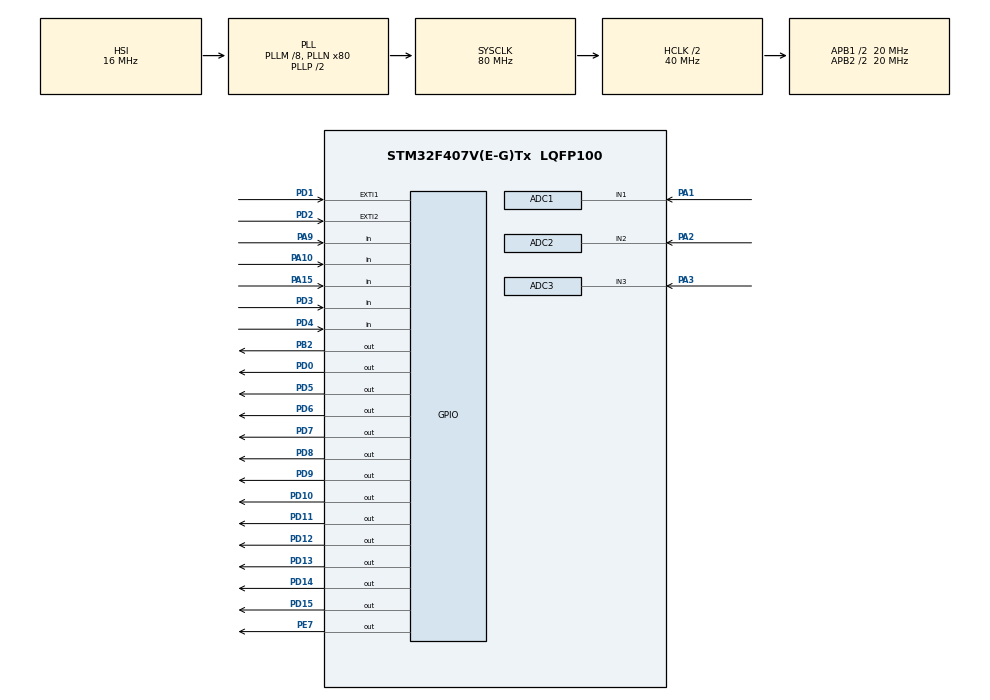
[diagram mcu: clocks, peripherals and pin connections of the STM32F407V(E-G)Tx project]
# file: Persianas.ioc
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ADC1.Channel-0\#ChannelRegularConversion=ADC_CHANNEL_1
ADC1.NbrOfConversionFlag=1
ADC1.Rank-0\#ChannelRegularConversion=1
ADC1.Resolution=ADC_RESOLUTION_10B
ADC1.SamplingTime-0\#ChannelRegularConversion=ADC_SAMPLETIME_3CYCLES
ADC1.master=1
ADC2.Channel-1\#ChannelRegularConversion=ADC_CHANNEL_2
ADC2.NbrOfConversionFlag=1
ADC2.Rank-1\#ChannelRegularConversion=1
ADC2.Resolution=ADC_RESOLUTION_10B
ADC2.SamplingTime-1\#ChannelRegularConversion=ADC_SAMPLETIME_3CYCLES
ADC3.Channel-0\#ChannelRegularConversion=ADC_CHANNEL_3
ADC3.NbrOfConversionFlag=1
ADC3.Rank-0\#ChannelRegularConversion=1
ADC3.Resolution=ADC_RESOLUTION_10B
ADC3.SamplingTime-0\#ChannelRegularConversion=ADC_SAMPLETIME_3CYCLES
Mcu.Family=STM32F4
Mcu.Name=STM32F407V(E-G)Tx
Mcu.Package=LQFP100
NVIC.EXTI1_IRQn=true\:0\:0\:false\:false\:true\:true\:true
NVIC.EXTI2_IRQn=true\:0\:0\:false\:false\:true\:true\:true
NVIC.PriorityGroup=NVIC_PRIORITYGROUP_4
NVIC.TIM1_BRK_TIM9_IRQn=true\:0\:0\:false\:false\:true\:true\:true
NVIC.TIM8_BRK_TIM12_IRQn=true\:0\:0\:false\:false\:true\:true\:true
PA1.Signal=ADCx_IN1
PA10.Signal=GPIO_Input
PA13.Mode=Serial_Wire
PA13.Signal=SYS_JTMS-SWDIO
PA14.Mode=Serial_Wire
PA14.Signal=SYS_JTCK-SWCLK
PA15.Signal=GPIO_Input
PA2.Signal=ADCx_IN2
PA3.Signal=ADCx_IN3
PA9.Signal=GPIO_Input
PB2.Signal=GPIO_Output
PC14-OSC32_IN.Mode=LSE-External-Oscillator
PC14-OSC32_IN.Signal=RCC_OSC32_IN
PC15-OSC32_OUT.Mode=LSE-External-Oscillator
PC15-OSC32_OUT.Signal=RCC_OSC32_OUT
PD0.Signal=GPIO_Output
PD1.GPIO_ModeDefaultEXTI=GPIO_MODE_IT_FALLING
PD1.GPIO_PuPd=GPIO_PULLUP
PD1.Signal=GPXTI1
PD10.Signal=GPIO_Output
PD11.Signal=GPIO_Output
PD12.Signal=GPIO_Output
PD13.Signal=GPIO_Output
PD14.Signal=GPIO_Output
PD15.Signal=GPIO_Output
PD2.Signal=GPXTI2
PD3.Signal=GPIO_Input
PD4.Signal=GPIO_Input
PD5.Signal=GPIO_Output
PD6.Signal=GPIO_Output
PD7.Signal=GPIO_Output
PD8.Signal=GPIO_Output
PD9.Signal=GPIO_Output
PE7.Signal=GPIO_Output
PH0-OSC_IN.Mode=HSE-External-Oscillator
PH0-OSC_IN.Signal=RCC_OSC_IN
PH1-OSC_OUT.Mode=HSE-External-Oscillator
PH1-OSC_OUT.Signal=RCC_OSC_OUT
ProjectManager.HeapSize=0x200
ProjectManager.StackSize=0x400
ProjectManager.TargetToolchain=STM32CubeIDE
RCC.48MHZClocksFreq_Value=22857142.85714286
RCC.AHBCLKDivider=RCC_SYSCLK_DIV2
RCC.AHBFreq_Value=40000000
RCC.APB1CLKDivider=RCC_HCLK_DIV2
RCC.APB1Freq_Value=20000000
RCC.APB1TimFreq_Value=40000000
RCC.APB2CLKDivider=RCC_HCLK_DIV2
RCC.APB2Freq_Value=20000000
RCC.APB2TimFreq_Value=40000000
RCC.CortexFreq_Value=40000000
RCC.HCLKFreq_Value=40000000
RCC.HSE_VALUE=8000000
RCC.HSI_VALUE=16000000
RCC.PLLM=8
RCC.PLLN=80
RCC.PLLQ=7
RCC.SYSCLKFreq_VALUE=80000000
RCC.SYSCLKSource=RCC_SYSCLKSOURCE_PLLCLK
RCC.VCOOutputFreq_Value=160000000
SH.ADCx_IN1.0=ADC1_IN1,IN1
SH.ADCx_IN2.0=ADC2_IN2,IN2
SH.ADCx_IN3.0=ADC3_IN3,IN3
TIM12.Period=100-1
TIM12.Prescaler=40000-1
TIM3.Period=0xffff-1
TIM3.Prescaler=40-1
TIM9.Period=8000-1
TIM9.Prescaler=40000-1
VP_TIM12_VS_ClockSourceINT.Mode=Internal
VP_TIM3_VS_ClockSourceINT.Mode=Internal
VP_TIM9_VS_ClockSourceINT.Mode=Internal
board=STM32F407G-DISC1

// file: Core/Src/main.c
/* USER CODE BEGIN Header */
/**
  ******************************************************************************
  * @file           : main.c
  * @brief          : Main program body
  ******************************************************************************
  * @attention
  *
  * Copyright (c) 2022 STMicroelectronics.
  * All rights reserved.
  *
  * This software is licensed under terms that can be found in the LICENSE file
  * in the root directory of this software component.
  * If no LICENSE file comes with this software, it is provided AS-IS.
  *
  ******************************************************************************
  */
/* USER CODE END Header */
#include "main.h"

ADC_HandleTypeDef hadc1;
ADC_HandleTypeDef hadc2;
ADC_HandleTypeDef hadc3;

TIM_HandleTypeDef htim3;
TIM_HandleTypeDef htim9;
TIM_HandleTypeDef htim12;

void SystemClock_Config(void);
static void MX_GPIO_Init(void);
static void MX_ADC1_Init(void);
static void MX_ADC2_Init(void);
static void MX_ADC3_Init(void);
static void MX_TIM3_Init(void);
static void MX_TIM12_Init(void);
static void MX_TIM9_Init(void);

/* USER CODE BEGIN 0 */

//////////////DEFINES///////////////////////////////////////////////////////////////////////

//////////////Para mostrar el estado////////////
#define ESTADO0_PORT GPIOD
#define ESTADO0_PIN GPIO_PIN_12

#define ESTADO1_PORT GPIOD
#define ESTADO1_PIN GPIO_PIN_13

#define ESTADO2_PORT GPIOD
#define ESTADO2_PIN GPIO_PIN_14
///////////////////////////////////////////////

/////////////// Para el motor //////////////////

#define pasosporrev 4096

#define M1_PORT GPIOD
#define M1_PIN GPIO_PIN_8

#define M2_PORT GPIOD
#define M2_PIN GPIO_PIN_9

#define M3_PORT GPIOD
#define M3_PIN GPIO_PIN_10

#define M4_PORT GPIOD
#define M4_PIN GPIO_PIN_11
///////////////////////////////////////////////

//////////////////Para el hall////////////////
#define VAL_LIM_HALL 450
// para mayor sensibilidad aumentar valor; para menor, disminuir
//////////////////////////////////////////////

////////////////// Para ultrasonidos //////////
#define DIST_MIN 3
#define DIST_MAX_1 12
#define DIST_MAX_2 24

#define US_TRIGGER_PORT GPIOD
#define US_TRIGGER_PIN GPIO_PIN_15

#define US_ECHO_PORT GPIOD
#define US_ECHO_PIN GPIO_PIN_4
//////////////////////////////////////////////

////////Para LDR//////////////////////////////
#define UMBRAL_MODO_1 1000
#define UMBRAL_MODO_2 800
/////////////////////////////////////////////

//////////////// Para movimiento /////////////
#define MOTION_PORT GPIOD
#define MOTION_PIN GPIO_PIN_3

#define MOTION_LED_PORT GPIOD
#define MOTION_LED_PIN GPIO_PIN_0
/////////////////////////////////////////////

//////////////////Para el PAD///////////////
#define PAD_S1_PORT GPIOD
#define PAD_S1_PIN GPIO_PIN_5

#define PAD_S2_PORT GPIOD
#define PAD_S2_PIN GPIO_PIN_6

#define PAD_S3_PORT GPIOD
#define PAD_S3_PIN GPIO_PIN_7

#define PAD_E1_PORT GPIOA
#define PAD_E1_PIN GPIO_PIN_9

#define PAD_E2_PORT GPIOA
#define PAD_E2_PIN GPIO_PIN_10

#define PAD_E3_PORT GPIOA
#define PAD_E3_PIN GPIO_PIN_15
////////////////////////////////////////////

//////////Para la CONTRASEÑA///////////////
#define P1 '1'
#define P2 '5'
#define P3 '2'
#define P4 '1'

#define PAD_LED_V_PORT GPIOE
#define PAD_LED_V_PIN GPIO_PIN_7

#define PAD_LED_R_PORT GPIOB
#define PAD_LED_R_PIN GPIO_PIN_2
//////////////////////////////////////////

///////////////////////////////////////////////////////////////////////////////////////////////

////////////////////////////VARIABLES//////////////////////////////////////////////////////////

//banderas para los botones y temporizaciones
volatile int button_1 = 0;
volatile int button_2 = 0;
volatile int tiempo1 = 0;
volatile int tiempo2 = 0;

//vector para guardar las lecturas del ADC
uint32_t ADC_val[3];

//variable para guardar la distancia medida, en cm
uint32_t distancia = 0;

//variables para la contraseña
char aux;
char key [4] = {0,0,0,0};

//variables para los estados
uint8_t estado = 0;
uint8_t preestado = 0;

//////////////////////////////////////////////////////////////////////////////////////////////

//////////////INTERRUPCIONES/////////////////////////////////////////////////////////////////
// Dos botones
void HAL_GPIO_EXTI_Callback(uint16_t GPIO_Pin)
{
	if (GPIO_Pin == GPIO_PIN_1) {
		button_1 = 1;
	}

	if(GPIO_Pin ==  GPIO_PIN_2) {
		button_2 = 1;
	}
}

void HAL_TIM_PeriodElapsedCallback(TIM_HandleTypeDef *htim) {

	if (htim == &htim9)
	{
		tiempo2 = 1;
	}

	if (htim == &htim12)
	{
		tiempo1 = 1;
	}
}
/////////////////////////////////////////////////////////////////////////////////////////////

/////////////ANTIRREBOTES///////////////////////////////////////////////////////////////////
// SEgún se realizó en el laboratorio
int debouncer(volatile int* button_int, GPIO_TypeDef* GPIO_port, uint16_t GPIO_number){
	static uint8_t button_count=0;
	static int counter=0;

	if (*button_int==1){
		if (button_count==0) {
			counter=HAL_GetTick();
			button_count++;
		}
		if (HAL_GetTick()-counter>=20){
			counter=HAL_GetTick();
			if (HAL_GPIO_ReadPin(GPIO_port, GPIO_number)!=1){
				button_count=1;
			}
			else{
				button_count++;
			}
			if (button_count==4){ //Periodo antirebotes
				button_count=0;
				*button_int=0;
				return 1;
			}
		}
	}
	return 0;
}
/////////////////////////////////////////////////////////////////////////////////////////////

////////JOYSTICK////////////////////////////////////////////////////////////////////////////
// Una funcion para saber si esta hacia arriba y otra hacia abajo, segun el valor leido en
// el ADC.
int joystick_arriba () {
	HAL_ADC_Start(&hadc1);
	if(HAL_ADC_PollForConversion(&hadc1, 100) ==  HAL_OK) {
		ADC_val[0] = HAL_ADC_GetValue(&hadc1);
	}
	HAL_ADC_Stop(&hadc1);
	if(ADC_val[0] < 350) {return 1;}
	else {return 0;}
}

int joystick_abajo () {
	HAL_ADC_Start(&hadc1);
	if(HAL_ADC_PollForConversion(&hadc1, 100) ==  HAL_OK) {
		ADC_val[0] = HAL_ADC_GetValue(&hadc1);
	}
	HAL_ADC_Stop(&hadc1);
	if(ADC_val[0] > 675) {return 1;}
	else {return 0;}
}
////////////////////////////////////////////////////////////////////////////////////////////

////////DELAY EN MICROSEGUNDOS/////////////////////////////////////////////////////////////
void delay_us (uint16_t us) {
	__HAL_TIM_SET_COUNTER(&htim3, 0);
	while(__HAL_TIM_GET_COUNTER(&htim3)<us);
}
//////////////////////////////////////////////////////////////////////////////////////////

////////MOTOR PASO A PASO/////////////////////////////////////////////////////////////////
//Funcion para determinar las rpm a las que gira el motor. Funciona bien entre 1 y 13.
//Nosotros lo usaremos a 10 rpm en todos los casos.
void step_motor_set_rpm(int rpm)
{
	delay_us(60000000/pasosporrev/rpm);
}

//Determina la secuencia de los pines a nivel alto/bajo para poder mover el motor.
//Se van activando en orden. El primero se pone a nivel alto, se le añade el segundo,
//se elimina el primero, se añade el tercero, se elimina el segundo, etc.
void step_motor_half (int step) {
	switch(step) {
	case 0:
		HAL_GPIO_WritePin(M1_PORT, M1_PIN, GPIO_PIN_SET);
		HAL_GPIO_WritePin(M2_PORT, M2_PIN, GPIO_PIN_RESET);
		HAL_GPIO_WritePin(M3_PORT, M3_PIN, GPIO_PIN_RESET);
		HAL_GPIO_WritePin(M4_PORT, M4_PIN, GPIO_PIN_RESET);
		break;
	case 1:
		HAL_GPIO_WritePin(M1_PORT, M1_PIN, GPIO_PIN_SET);
		HAL_GPIO_WritePin(M2_PORT, M2_PIN, GPIO_PIN_SET);
		HAL_GPIO_WritePin(M3_PORT, M3_PIN, GPIO_PIN_RESET);
		HAL_GPIO_WritePin(M4_PORT, M4_PIN, GPIO_PIN_RESET);
		break;
	case 2:
		HAL_GPIO_WritePin(M1_PORT, M1_PIN, GPIO_PIN_RESET);
		HAL_GPIO_WritePin(M2_PORT, M2_PIN, GPIO_PIN_SET);
		HAL_GPIO_WritePin(M3_PORT, M3_PIN, GPIO_PIN_RESET);
		HAL_GPIO_WritePin(M4_PORT, M4_PIN, GPIO_PIN_RESET);
		break;
	case 3:
		HAL_GPIO_WritePin(M1_PORT, M1_PIN, GPIO_PIN_RESET);
		HAL_GPIO_WritePin(M2_PORT, M2_PIN, GPIO_PIN_SET);
		HAL_GPIO_WritePin(M3_PORT, M3_PIN, GPIO_PIN_SET);
		HAL_GPIO_WritePin(M4_PORT, M4_PIN, GPIO_PIN_RESET);
		break;
	case 4:
		HAL_GPIO_WritePin(M1_PORT, M1_PIN, GPIO_PIN_RESET);
		HAL_GPIO_WritePin(M2_PORT, M2_PIN, GPIO_PIN_RESET);
		HAL_GPIO_WritePin(M3_PORT, M3_PIN, GPIO_PIN_SET);
		HAL_GPIO_WritePin(M4_PORT, M4_PIN, GPIO_PIN_RESET);
		break;
	case 5:
		HAL_GPIO_WritePin(M1_PORT, M1_PIN, GPIO_PIN_RESET);
		HAL_GPIO_WritePin(M2_PORT, M2_PIN, GPIO_PIN_RESET);
		HAL_GPIO_WritePin(M3_PORT, M3_PIN, GPIO_PIN_SET);
		HAL_GPIO_WritePin(M4_PORT, M4_PIN, GPIO_PIN_SET);
		break;
	case 6:
		HAL_GPIO_WritePin(M1_PORT, M1_PIN, GPIO_PIN_RESET);
		HAL_GPIO_WritePin(M2_PORT, M2_PIN, GPIO_PIN_RESET);
		HAL_GPIO_WritePin(M3_PORT, M3_PIN, GPIO_PIN_RESET);
		HAL_GPIO_WritePin(M4_PORT, M4_PIN, GPIO_PIN_SET);
		break;
	case 7:
		HAL_GPIO_WritePin(M1_PORT, M1_PIN, GPIO_PIN_SET);
		HAL_GPIO_WritePin(M2_PORT, M2_PIN, GPIO_PIN_RESET);
		HAL_GPIO_WritePin(M3_PORT, M3_PIN, GPIO_PIN_RESET);
		HAL_GPIO_WritePin(M4_PORT, M4_PIN, GPIO_PIN_SET);
		break;
	}
}

// Finalmente, la funcion que realmente usamos en el main, ya que incluye las dos
// anteriores. Esta funcion hace que el motor gire un angulo introducido, en un
// sentido u otro, y a unas rpm determinadas (entre 1 y 13 rpm funciona).
void step_motor_angle (float angle, int direction, int rpm) {
	float angperseq = 0.703125;
	int numberofseq = (int) (angle/angperseq);

	for (int seq=0; seq < numberofseq; seq++) {
		if (direction == 0) { // sentido horario
			for (int step = 7; step>=0; step--) {
				step_motor_half(step);
				step_motor_set_rpm(rpm);
			}
		}
		else if (direction == 1) { // sentido antihorario
			for (int step = 0; step<8; step++) {
				step_motor_half(step);
				step_motor_set_rpm(rpm);
			}
		}
	}
}
////////////////////////////////////////////////////////////////////////////////////////////////

///////SENSOR DE EFECTO HALL///////////////////////////////////////////////////////////////////
//Se lee como ADC para poder ajustar la sensibilidad a la deseada, segun
//la disposicion fisica final de la maqueta. Es el sensor de fin de carrera
//superior
int hall () {
	HAL_ADC_Start(&hadc2);
	if(HAL_ADC_PollForConversion(&hadc2, 100) ==  HAL_OK) {
		ADC_val[1] = HAL_ADC_GetValue(&hadc2);
	}
	HAL_ADC_Stop(&hadc2);
	if(ADC_val[1] < VAL_LIM_HALL) {return 1;}
	else {return 0;}
}
////////////////////////////////////////////////////////////////////////////////////////////////

////////SENSOR DE ULTRASONIDOS/////////////////////////////////////////////////////////////////
//Lee la distancia que hay de un lado a otro en la parte de abajo, donde
//deberia bajar la persiana. Es utilizado como sensor de fin de carrera
//inferior y tambien como elemento de seguridad, pues si se detecta la
//presencia de un obstaculo, no se baja la persiana.
//
//Se envia una señal a nivel alto de 10 microsegundos. Se espera un tiempo
//durante el cual el sensor emite ultrasonidos y finalmente se lee durante
//cuantos microsegundos la señal que devuelve el sensor se mantiene a
//nivel alto.
uint32_t ultrasonicRead (void) {
	int cuenta = 0;
	HAL_GPIO_WritePin(US_TRIGGER_PORT, US_TRIGGER_PIN, 1);
	delay_us(10);
	HAL_GPIO_WritePin(US_TRIGGER_PORT, US_TRIGGER_PIN, 0);
	while(!(HAL_GPIO_ReadPin(US_ECHO_PORT, US_ECHO_PIN)));
	while(HAL_GPIO_ReadPin(US_ECHO_PORT, US_ECHO_PIN)) {
		cuenta = cuenta + 1;
		delay_us(1);
	}
	return cuenta * 0.051;
}
///////////////////////////////////////////////////////////////////////////////////////////////

///////LDR////////////////////////////////////////////////////////////////////////////////////
uint32_t ldr () {
	HAL_ADC_Start(&hadc3);
	if(HAL_ADC_PollForConversion(&hadc3, 100) ==  HAL_OK) {
		ADC_val[2] = HAL_ADC_GetValue(&hadc3);
	}
	HAL_ADC_Stop(&hadc3);
	return ADC_val[2];
}
//////////////////////////////////////////////////////////////////////////////////////////////

////SENSOR DE MOVIMIENTO/////////////////////////////////////////////////////////////////////
//Cuando el sensor detecta movimiento, su salida se pone a nivel alto durante un tiempo
//determinado por la posicion de un potenciometro. Otro potenciometro determina la
//sensibilidad.
//En esta funcion simplemente se traduce el estado de esa salida del sensor a un LED
void motion () {
	 if(HAL_GPIO_ReadPin(MOTION_PORT, MOTION_PIN)) {  HAL_GPIO_WritePin(MOTION_LED_PORT, MOTION_LED_PIN, 1); }
	 else {  HAL_GPIO_WritePin(MOTION_LED_PORT, MOTION_LED_PIN, 0); }
}
//////////////////////////////////////////////////////////////////////////////////////////////

/////PANEL DE CONTRASEÑA/////////////////////////////////////////////////////////////////////
//Su funcionamiento es el siguiente: el panel es una matriz. Las columnas se van poniendo
//a nivel alto una a la vez y, en cada caso, se lee si alguna de las filas se pone a
//nivel alto. En caso afirmativo, se ha producido el contacto entre la columna y la fila
//correspondiente.
char keypad (void)
{
	//LED rojo se enciende mientras estemos permitiendo la introduccion de contraseña
	HAL_GPIO_WritePin(PAD_LED_R_PORT, PAD_LED_R_PIN, 1);
	// Ponemos solo la primera columna a nivel alto
	HAL_GPIO_WritePin (PAD_S1_PORT, PAD_S1_PIN, GPIO_PIN_SET);
	HAL_GPIO_WritePin (PAD_S2_PORT, PAD_S2_PIN, GPIO_PIN_RESET);
	HAL_GPIO_WritePin (PAD_S3_PORT, PAD_S3_PIN, GPIO_PIN_RESET);

	if ((HAL_GPIO_ReadPin (PAD_E1_PORT, PAD_E1_PIN)))
	{
		while ((HAL_GPIO_ReadPin (PAD_E1_PORT, PAD_E1_PIN)));
		return '1';
	}

	if ((HAL_GPIO_ReadPin (PAD_E2_PORT, PAD_E2_PIN)))
	{
		while ((HAL_GPIO_ReadPin (PAD_E2_PORT, PAD_E2_PIN)));
		return '2';
	}

	if ((HAL_GPIO_ReadPin (PAD_E3_PORT, PAD_E3_PIN)))
	{
		while ((HAL_GPIO_ReadPin (PAD_E3_PORT, PAD_E3_PIN)));
		return '3';
	}

	// Ahora la segunda
	HAL_GPIO_WritePin (PAD_S1_PORT, PAD_S1_PIN, GPIO_PIN_RESET);
	HAL_GPIO_WritePin (PAD_S2_PORT, PAD_S2_PIN, GPIO_PIN_SET);
	HAL_GPIO_WritePin (PAD_S3_PORT, PAD_S3_PIN, GPIO_PIN_RESET);

	if ((HAL_GPIO_ReadPin (PAD_E1_PORT, PAD_E1_PIN)))
		{
			while ((HAL_GPIO_ReadPin (PAD_E1_PORT, PAD_E1_PIN)));
			return '4';
		}

		if ((HAL_GPIO_ReadPin (PAD_E2_PORT, PAD_E2_PIN)))
		{
			while ((HAL_GPIO_ReadPin (PAD_E2_PORT, PAD_E2_PIN)));
			return '5';
		}

		if ((HAL_GPIO_ReadPin (PAD_E3_PORT, PAD_E3_PIN)))
		{
			while ((HAL_GPIO_ReadPin (PAD_E3_PORT, PAD_E3_PIN)));
			return '6';
		}

	// La tercera
	HAL_GPIO_WritePin (PAD_S1_PORT, PAD_S1_PIN, GPIO_PIN_RESET);
	HAL_GPIO_WritePin (PAD_S2_PORT, PAD_S2_PIN, GPIO_PIN_RESET);
	HAL_GPIO_WritePin (PAD_S3_PORT, PAD_S3_PIN, GPIO_PIN_SET);

	if ((HAL_GPIO_ReadPin (PAD_E1_PORT, PAD_E1_PIN)))
			{
				while ((HAL_GPIO_ReadPin (PAD_E1_PORT, PAD_E1_PIN)));
				return '7';
			}

			if ((HAL_GPIO_ReadPin (PAD_E2_PORT, PAD_E2_PIN)))
			{
				while ((HAL_GPIO_ReadPin (PAD_E2_PORT, PAD_E2_PIN)));
				return '8';
			}

			if ((HAL_GPIO_ReadPin (PAD_E3_PORT, PAD_E3_PIN)))
			{
				while ((HAL_GPIO_ReadPin (PAD_E3_PORT, PAD_E3_PIN)));
				return '9';
			}
	return 'x';
}

//Esta funcion comprueba si se introduce la contraseña correcta
//sin sobrepasar el tiempo limite. El motivo de este diseño
//es que a veces se detectan numeros aleatorios por contactos
//indeseados, suponemos que por la baja calidad del panel.
void password () {
	if (aux == P1) { key[0] = aux; }
	if (aux == P2 && key[0] == P1) { key[1] = aux; }
	if (aux == P3 && key[1] == P2) { key[2] = aux; }
	if (aux == P4 && key[2] == P3) {
		key[3] = aux;
		HAL_GPIO_WritePin(PAD_LED_V_PORT, PAD_LED_V_PIN, 1);
		tiempo2 = 0;
		__HAL_TIM_SET_COUNTER(&htim9, 0);

	}
	if(tiempo2) {
		estado = preestado;
		HAL_GPIO_WritePin(PAD_LED_R_PORT, PAD_LED_R_PIN, 0);
		HAL_GPIO_WritePin(PAD_LED_V_PORT, PAD_LED_V_PIN, 0);
		key[0] = 0; key[1] = 0; key[2] = 0; key[3] = 0;
	}
}
//////////////////////////////////////////////////////////////////////////////////////////

/* USER CODE END 0 */

int main(void)
{

  /* MCU Configuration--------------------------------------------------------*/

  /* Reset of all peripherals, Initializes the Flash interface and the Systick. */
  HAL_Init();

  /* Configure the system clock */
  SystemClock_Config();

  /* Initialize all configured peripherals */
  MX_GPIO_Init();
  MX_ADC1_Init();
  MX_ADC2_Init();
  MX_ADC3_Init();
  MX_TIM3_Init();
  MX_TIM12_Init();
  MX_TIM9_Init();
  /* USER CODE BEGIN 2 */
HAL_TIM_Base_Start(&htim3);
HAL_TIM_Base_Start_IT(&htim9);
HAL_TIM_Base_Start_IT(&htim12);
  /* USER CODE END 2 */

  /* Infinite loop */
  while (1)
  {

    /* USER CODE BEGIN 3 */
	  if(debouncer(&button_1, GPIOD, GPIO_PIN_1) == 1) {
		  if(estado == 3) {
			  // Nada
		  }
		  else {
			  estado ++;
			  if (estado >= 3) {estado = 0;}
			  	  button_1 = 0;
		  	  }
	  }

	  if(debouncer(&button_2, GPIOD, GPIO_PIN_2) == 1) {
		  	  preestado = estado;
		  	  estado = 3;
		  	 tiempo2 = 0;
		  	__HAL_TIM_SET_COUNTER(&htim9, 0);
	  		  button_2 = 0;
	  	  }

	  motion(); //sensor de movimiento + led correspondiente gestionado aqui

	  //switch case para los estados
	  switch(estado) {
	  	  case 0: // modo manual
	  		  //mostramos el estado en el que estamos en primer lugar
	  		  HAL_GPIO_WritePin(ESTADO0_PORT, ESTADO0_PIN, 1);
	  		  HAL_GPIO_WritePin(ESTADO1_PORT, ESTADO1_PIN, 0);
	  		  HAL_GPIO_WritePin(ESTADO2_PORT, ESTADO2_PIN, 0);
		  	  //leemos la distancia:
	  		  if(tiempo1 == 0) {  //no leemos distancia: el por qué
			  	  	  		//está en las características del
			  	  	  	  	//sensor
			  }
	  		  else {
	  			  distancia = ultrasonicRead(); // ahora si, leemos distancia
	  			  tiempo1 = 0;
	  		  }
		  	  //permitimos el movimiento del motor segun la situacion:
	  		  if(distancia > DIST_MIN && distancia < DIST_MAX_1) {
			  //obstaculo o persiana abajo. Solamente permitimos la subida.
	  			  if(joystick_arriba()) { step_motor_angle(1,1,5); }
	  		  }
	  		  else if (distancia >= DIST_MAX_1 && distancia <= DIST_MAX_2) {
			  // funcionamiento normal, permitimos subida (solo si el hall lo permite) y bajada.
	  			  if (hall()) {if(joystick_abajo()) { step_motor_angle(1,0,5); }}
	  			  else {
			 			  if(joystick_arriba()) { step_motor_angle(1,1,5); }
			 			  if(joystick_abajo()) { step_motor_angle(1,0,5); }
	  			  }
	  		  }
	  		  break;

	  	  case 1: // modo automatico 1: "invierno / intimidad"
	  		  // mostramos el estado en el que estamos
	  		  HAL_GPIO_WritePin(ESTADO0_PORT, ESTADO0_PIN, 0);
	  		  HAL_GPIO_WritePin(ESTADO1_PORT, ESTADO1_PIN, 1);
	  		  HAL_GPIO_WritePin(ESTADO2_PORT, ESTADO2_PIN, 0);

	  		  if(tiempo1 == 0) { //no leemos distancia: el por qué
  	  	  	  	  	  	  //está en las características del
  	  	  	  	  	  	  //sensor
	  		  }
	  		  else {
	  			  distancia = ultrasonicRead(); // ahora si, leemos distancia
	  			  tiempo1 = 0;
	  		  }
	 	  	  //Según el valor del LDR actuamos de una u otra forma.
	  		  if (ldr()>UMBRAL_MODO_1 && distancia > DIST_MIN) {
	  			  if(distancia > DIST_MIN && distancia < DIST_MAX_1) {
	 			 //obstaculo o persiana abajo
	  			  }
	  			  else {
	  				  step_motor_angle(1,0,5); //bajando
	  			  }
	  		  }
	  		  else if (ldr()<UMBRAL_MODO_1 && hall()==0) {
	  			  step_motor_angle(1,1,5); //subiendo mientras hall lo permita
	  		  }
	  		  break;

	  	  case 2:  // modo automatico 2: "verano / inverso"
	  		  // mostramos el estado en el que estamos
	  		  HAL_GPIO_WritePin(ESTADO0_PORT, ESTADO0_PIN, 0);
	  		  HAL_GPIO_WritePin(ESTADO1_PORT, ESTADO1_PIN, 0);
	  		  HAL_GPIO_WritePin(ESTADO2_PORT, ESTADO2_PIN, 1);
	      	  //leemos la distancia
	  		  if(tiempo1 == 0) { //no leemos distancia: el por qué
 	  	  	  	  	  	  //está en las características del
	 		 	 	 	  //sensor
	  		  }
	  		  else {
	  			  distancia = ultrasonicRead(); // ahora si, leemos distancia
	  			  tiempo1 = 0;
	  		  }
	 	 	 //segun el valor del ldr, actuamos de una u otra forma.
	  		  if (ldr()<UMBRAL_MODO_2 && distancia > DIST_MIN) {
	  			  if(distancia > DIST_MIN && distancia < DIST_MAX_1) {
	 			 //obstaculo o persiana abajo
	  			  }
	  			  else {
	  				  step_motor_angle(1,0,5); // bajando
	  			  }
	  		  }
	  		  else if (ldr()>UMBRAL_MODO_2 && hall()==0) {
	  			  step_motor_angle(1,1,5); // subiendo mientras el hall lo permita
	  		  }
	  		  break;

	  	  case 3: // caja fuerte, contraseña
	  		  //apagamos los estados 0, 1 , 2
	  		  //el estado actual se muestra con otro led,
	  		  //gestionado en las funciones keypad() y password()
	  		  HAL_GPIO_WritePin(ESTADO0_PORT, ESTADO0_PIN, 0);
	  		  HAL_GPIO_WritePin(ESTADO1_PORT, ESTADO1_PIN, 0);
	  		  HAL_GPIO_WritePin(ESTADO2_PORT, ESTADO2_PIN, 0);
	  		  aux = keypad(); //Se lee si se pulsa algun boton
	  		  password(); // Se comprueba si se van introduciendo
		  	  	  	  // los numeros correctos. Se enciende un LED
		  	  	  	  // verde en caso de éxito.
	  		  break;

	  	  default:
	  		  HAL_GPIO_WritePin(ESTADO0_PORT, ESTADO0_PIN, 0);
	  		  HAL_GPIO_WritePin(ESTADO1_PORT, ESTADO1_PIN, 0);
	  		  HAL_GPIO_WritePin(ESTADO2_PORT, ESTADO2_PIN, 0);
	      break;
	  }
  }
  /* USER CODE END 3 */
}

void SystemClock_Config(void)
{
  RCC_OscInitTypeDef RCC_OscInitStruct = {0};
  RCC_ClkInitTypeDef RCC_ClkInitStruct = {0};

  /** Configure the main internal regulator output voltage
  */
  __HAL_RCC_PWR_CLK_ENABLE();
  __HAL_PWR_VOLTAGESCALING_CONFIG(PWR_REGULATOR_VOLTAGE_SCALE1);
  /** Initializes the RCC Oscillators according to the specified parameters
  * in the RCC_OscInitTypeDef structure.
  */
  RCC_OscInitStruct.OscillatorType = RCC_OSCILLATORTYPE_HSI;
  RCC_OscInitStruct.HSIState = RCC_HSI_ON;
  RCC_OscInitStruct.HSICalibrationValue = RCC_HSICALIBRATION_DEFAULT;
  RCC_OscInitStruct.PLL.PLLState = RCC_PLL_ON;
  RCC_OscInitStruct.PLL.PLLSource = RCC_PLLSOURCE_HSI;
  RCC_OscInitStruct.PLL.PLLM = 8;
  RCC_OscInitStruct.PLL.PLLN = 80;
  RCC_OscInitStruct.PLL.PLLP = RCC_PLLP_DIV2;
  RCC_OscInitStruct.PLL.PLLQ = 7;
  if (HAL_RCC_OscConfig(&RCC_OscInitStruct) != HAL_OK)
  {
    Error_Handler();
  }
  /** Initializes the CPU, AHB and APB buses clocks
  */
  RCC_ClkInitStruct.ClockType = RCC_CLOCKTYPE_HCLK|RCC_CLOCKTYPE_SYSCLK
                              |RCC_CLOCKTYPE_PCLK1|RCC_CLOCKTYPE_PCLK2;
  RCC_ClkInitStruct.SYSCLKSource = RCC_SYSCLKSOURCE_PLLCLK;
  RCC_ClkInitStruct.AHBCLKDivider = RCC_SYSCLK_DIV2;
  RCC_ClkInitStruct.APB1CLKDivider = RCC_HCLK_DIV2;
  RCC_ClkInitStruct.APB2CLKDivider = RCC_HCLK_DIV2;

  if (HAL_RCC_ClockConfig(&RCC_ClkInitStruct, FLASH_LATENCY_1) != HAL_OK)
  {
    Error_Handler();
  }
}

static void MX_ADC1_Init(void)
{

  ADC_ChannelConfTypeDef sConfig = {0};

  /** Configure the global features of the ADC (Clock, Resolution, Data Alignment and number of conversion)
  */
  hadc1.Instance = ADC1;
  hadc1.Init.ClockPrescaler = ADC_CLOCK_SYNC_PCLK_DIV2;
  hadc1.Init.Resolution = ADC_RESOLUTION_10B;
  hadc1.Init.ScanConvMode = DISABLE;
  hadc1.Init.ContinuousConvMode = DISABLE;
  hadc1.Init.DiscontinuousConvMode = DISABLE;
  hadc1.Init.ExternalTrigConvEdge = ADC_EXTERNALTRIGCONVEDGE_NONE;
  hadc1.Init.ExternalTrigConv = ADC_SOFTWARE_START;
  hadc1.Init.DataAlign = ADC_DATAALIGN_RIGHT;
  hadc1.Init.NbrOfConversion = 1;
  hadc1.Init.DMAContinuousRequests = DISABLE;
  hadc1.Init.EOCSelection = ADC_EOC_SINGLE_CONV;
  if (HAL_ADC_Init(&hadc1) != HAL_OK)
  {
    Error_Handler();
  }
  /** Configure for the selected ADC regular channel its corresponding rank in the sequencer and its sample time.
  */
  sConfig.Channel = ADC_CHANNEL_1;
  sConfig.Rank = 1;
  sConfig.SamplingTime = ADC_SAMPLETIME_3CYCLES;
  if (HAL_ADC_ConfigChannel(&hadc1, &sConfig) != HAL_OK)
  {
    Error_Handler();
  }

}

static void MX_ADC2_Init(void)
{

  ADC_ChannelConfTypeDef sConfig = {0};

  /** Configure the global features of the ADC (Clock, Resolution, Data Alignment and number of conversion)
  */
  hadc2.Instance = ADC2;
  hadc2.Init.ClockPrescaler = ADC_CLOCK_SYNC_PCLK_DIV2;
  hadc2.Init.Resolution = ADC_RESOLUTION_10B;
  hadc2.Init.ScanConvMode = DISABLE;
  hadc2.Init.ContinuousConvMode = DISABLE;
  hadc2.Init.DiscontinuousConvMode = DISABLE;
  hadc2.Init.ExternalTrigConvEdge = ADC_EXTERNALTRIGCONVEDGE_NONE;
  hadc2.Init.ExternalTrigConv = ADC_SOFTWARE_START;
  hadc2.Init.DataAlign = ADC_DATAALIGN_RIGHT;
  hadc2.Init.NbrOfConversion = 1;
  hadc2.Init.DMAContinuousRequests = DISABLE;
  hadc2.Init.EOCSelection = ADC_EOC_SINGLE_CONV;
  if (HAL_ADC_Init(&hadc2) != HAL_OK)
  {
    Error_Handler();
  }
  /** Configure for the selected ADC regular channel its corresponding rank in the sequencer and its sample time.
  */
  sConfig.Channel = ADC_CHANNEL_2;
  sConfig.Rank = 1;
  sConfig.SamplingTime = ADC_SAMPLETIME_3CYCLES;
  if (HAL_ADC_ConfigChannel(&hadc2, &sConfig) != HAL_OK)
  {
    Error_Handler();
  }

}

static void MX_ADC3_Init(void)
{

  ADC_ChannelConfTypeDef sConfig = {0};

  /** Configure the global features of the ADC (Clock, Resolution, Data Alignment and number of conversion)
  */
  hadc3.Instance = ADC3;
  hadc3.Init.ClockPrescaler = ADC_CLOCK_SYNC_PCLK_DIV2;
  hadc3.Init.Resolution = ADC_RESOLUTION_10B;
  hadc3.Init.ScanConvMode = DISABLE;
  hadc3.Init.ContinuousConvMode = DISABLE;
  hadc3.Init.DiscontinuousConvMode = DISABLE;
  hadc3.Init.ExternalTrigConvEdge = ADC_EXTERNALTRIGCONVEDGE_NONE;
  hadc3.Init.ExternalTrigConv = ADC_SOFTWARE_START;
  hadc3.Init.DataAlign = ADC_DATAALIGN_RIGHT;
  hadc3.Init.NbrOfConversion = 1;
  hadc3.Init.DMAContinuousRequests = DISABLE;
  hadc3.Init.EOCSelection = ADC_EOC_SINGLE_CONV;
  if (HAL_ADC_Init(&hadc3) != HAL_OK)
  {
    Error_Handler();
  }
  /** Configure for the selected ADC regular channel its corresponding rank in the sequencer and its sample time.
  */
  sConfig.Channel = ADC_CHANNEL_3;
  sConfig.Rank = 1;
  sConfig.SamplingTime = ADC_SAMPLETIME_3CYCLES;
  if (HAL_ADC_ConfigChannel(&hadc3, &sConfig) != HAL_OK)
  {
    Error_Handler();
  }

}

static void MX_TIM3_Init(void)
{

  TIM_ClockConfigTypeDef sClockSourceConfig = {0};
  TIM_MasterConfigTypeDef sMasterConfig = {0};

  htim3.Instance = TIM3;
  htim3.Init.Prescaler = 40-1;
  htim3.Init.CounterMode = TIM_COUNTERMODE_UP;
  htim3.Init.Period = 0xffff-1;
  htim3.Init.ClockDivision = TIM_CLOCKDIVISION_DIV1;
  htim3.Init.AutoReloadPreload = TIM_AUTORELOAD_PRELOAD_DISABLE;
  if (HAL_TIM_Base_Init(&htim3) != HAL_OK)
  {
    Error_Handler();
  }
  sClockSourceConfig.ClockSource = TIM_CLOCKSOURCE_INTERNAL;
  if (HAL_TIM_ConfigClockSource(&htim3, &sClockSourceConfig) != HAL_OK)
  {
    Error_Handler();
  }
  sMasterConfig.MasterOutputTrigger = TIM_TRGO_RESET;
  sMasterConfig.MasterSlaveMode = TIM_MASTERSLAVEMODE_DISABLE;
  if (HAL_TIMEx_MasterConfigSynchronization(&htim3, &sMasterConfig) != HAL_OK)
  {
    Error_Handler();
  }

}

static void MX_TIM9_Init(void)
{

  TIM_ClockConfigTypeDef sClockSourceConfig = {0};

  htim9.Instance = TIM9;
  htim9.Init.Prescaler = 40000-1;
  htim9.Init.CounterMode = TIM_COUNTERMODE_UP;
  htim9.Init.Period = 8000-1;
  htim9.Init.ClockDivision = TIM_CLOCKDIVISION_DIV1;
  htim9.Init.AutoReloadPreload = TIM_AUTORELOAD_PRELOAD_DISABLE;
  if (HAL_TIM_Base_Init(&htim9) != HAL_OK)
  {
    Error_Handler();
  }
  sClockSourceConfig.ClockSource = TIM_CLOCKSOURCE_INTERNAL;
  if (HAL_TIM_ConfigClockSource(&htim9, &sClockSourceConfig) != HAL_OK)
  {
    Error_Handler();
  }

}

static void MX_TIM12_Init(void)
{

  TIM_ClockConfigTypeDef sClockSourceConfig = {0};

  htim12.Instance = TIM12;
  htim12.Init.Prescaler = 40000-1;
  htim12.Init.CounterMode = TIM_COUNTERMODE_UP;
  htim12.Init.Period = 100-1;
  htim12.Init.ClockDivision = TIM_CLOCKDIVISION_DIV1;
  htim12.Init.AutoReloadPreload = TIM_AUTORELOAD_PRELOAD_DISABLE;
  if (HAL_TIM_Base_Init(&htim12) != HAL_OK)
  {
    Error_Handler();
  }
  sClockSourceConfig.ClockSource = TIM_CLOCKSOURCE_INTERNAL;
  if (HAL_TIM_ConfigClockSource(&htim12, &sClockSourceConfig) != HAL_OK)
  {
    Error_Handler();
  }

}

static void MX_GPIO_Init(void)
{
  GPIO_InitTypeDef GPIO_InitStruct = {0};

  /* GPIO Ports Clock Enable */
  __HAL_RCC_GPIOC_CLK_ENABLE();
  __HAL_RCC_GPIOH_CLK_ENABLE();
  __HAL_RCC_GPIOA_CLK_ENABLE();
  __HAL_RCC_GPIOB_CLK_ENABLE();
  __HAL_RCC_GPIOE_CLK_ENABLE();
  __HAL_RCC_GPIOD_CLK_ENABLE();

  /*Configure GPIO pin Output Level */
  HAL_GPIO_WritePin(GPIOB, GPIO_PIN_2, GPIO_PIN_RESET);

  /*Configure GPIO pin Output Level */
  HAL_GPIO_WritePin(GPIOE, GPIO_PIN_7, GPIO_PIN_RESET);

  /*Configure GPIO pin Output Level */
  HAL_GPIO_WritePin(GPIOD, GPIO_PIN_8|GPIO_PIN_9|GPIO_PIN_10|GPIO_PIN_11
                          |GPIO_PIN_12|GPIO_PIN_13|GPIO_PIN_14|GPIO_PIN_15
                          |GPIO_PIN_0|GPIO_PIN_5|GPIO_PIN_6|GPIO_PIN_7, GPIO_PIN_RESET);

  /*Configure GPIO pin : PB2 */
  GPIO_InitStruct.Pin = GPIO_PIN_2;
  GPIO_InitStruct.Mode = GPIO_MODE_OUTPUT_PP;
  GPIO_InitStruct.Pull = GPIO_NOPULL;
  GPIO_InitStruct.Speed = GPIO_SPEED_FREQ_LOW;
  HAL_GPIO_Init(GPIOB, &GPIO_InitStruct);

  /*Configure GPIO pin : PE7 */
  GPIO_InitStruct.Pin = GPIO_PIN_7;
  GPIO_InitStruct.Mode = GPIO_MODE_OUTPUT_PP;
  GPIO_InitStruct.Pull = GPIO_NOPULL;
  GPIO_InitStruct.Speed = GPIO_SPEED_FREQ_LOW;
  HAL_GPIO_Init(GPIOE, &GPIO_InitStruct);

  /*Configure GPIO pins : PD8 PD9 PD10 PD11
                           PD12 PD13 PD14 PD15
                           PD0 PD5 PD6 PD7 */
  GPIO_InitStruct.Pin = GPIO_PIN_8|GPIO_PIN_9|GPIO_PIN_10|GPIO_PIN_11
                          |GPIO_PIN_12|GPIO_PIN_13|GPIO_PIN_14|GPIO_PIN_15
                          |GPIO_PIN_0|GPIO_PIN_5|GPIO_PIN_6|GPIO_PIN_7;
  GPIO_InitStruct.Mode = GPIO_MODE_OUTPUT_PP;
  GPIO_InitStruct.Pull = GPIO_NOPULL;
  GPIO_InitStruct.Speed = GPIO_SPEED_FREQ_LOW;
  HAL_GPIO_Init(GPIOD, &GPIO_InitStruct);

  /*Configure GPIO pins : PA9 PA10 PA15 */
  GPIO_InitStruct.Pin = GPIO_PIN_9|GPIO_PIN_10|GPIO_PIN_15;
  GPIO_InitStruct.Mode = GPIO_MODE_INPUT;
  GPIO_InitStruct.Pull = GPIO_NOPULL;
  HAL_GPIO_Init(GPIOA, &GPIO_InitStruct);

  /*Configure GPIO pin : PD1 */
  GPIO_InitStruct.Pin = GPIO_PIN_1;
  GPIO_InitStruct.Mode = GPIO_MODE_IT_FALLING;
  GPIO_InitStruct.Pull = GPIO_PULLUP;
  HAL_GPIO_Init(GPIOD, &GPIO_InitStruct);

  /*Configure GPIO pin : PD2 */
  GPIO_InitStruct.Pin = GPIO_PIN_2;
  GPIO_InitStruct.Mode = GPIO_MODE_IT_RISING;
  GPIO_InitStruct.Pull = GPIO_NOPULL;
  HAL_GPIO_Init(GPIOD, &GPIO_InitStruct);

  /*Configure GPIO pins : PD3 PD4 */
  GPIO_InitStruct.Pin = GPIO_PIN_3|GPIO_PIN_4;
  GPIO_InitStruct.Mode = GPIO_MODE_INPUT;
  GPIO_InitStruct.Pull = GPIO_NOPULL;
  HAL_GPIO_Init(GPIOD, &GPIO_InitStruct);

  /* EXTI interrupt init*/
  HAL_NVIC_SetPriority(EXTI1_IRQn, 0, 0);
  HAL_NVIC_EnableIRQ(EXTI1_IRQn);

  HAL_NVIC_SetPriority(EXTI2_IRQn, 0, 0);
  HAL_NVIC_EnableIRQ(EXTI2_IRQn);

}

void Error_Handler(void)
{
  __disable_irq();
  while (1)
  {
  }
}
